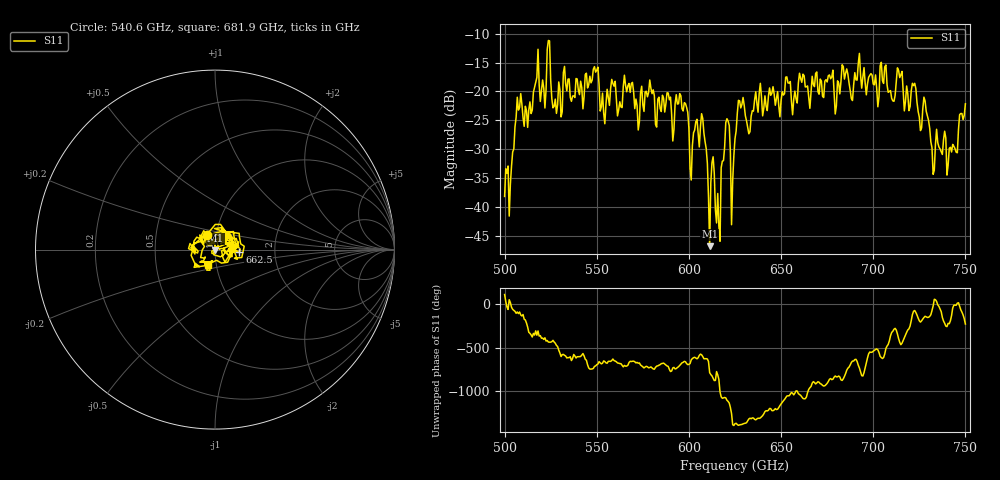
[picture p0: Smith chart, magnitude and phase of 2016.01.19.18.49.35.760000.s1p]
!Created with skrf (http://scikit-rf.org).
# GHz S RI R 50.0
!freq ReS11 ImS11
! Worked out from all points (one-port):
!   401 points, 500 GHz to 750 GHz, reference 50 ohm
!   lowest |S11| = -46.9 dB at 611.2 GHz (marker M1), VSWR 1.01, Z = 50.2 - j0.413 ohm
!   |S11| at or under -10 dB: start of sweep to end of sweep
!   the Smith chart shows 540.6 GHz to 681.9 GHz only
!   S11 on the Smith chart (normalised r, x): 540.6 GHz: 0.90, +0.15; 662.5 GHz: 1.32, -0.03; 681.9 GHz: 0.91, -0.16
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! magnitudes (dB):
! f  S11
! 500 GHz  -38.2
! 503.8 GHz  -33.0
! 508.1 GHz  -22.8
! 523.8 GHz  -11.2
! 526.9 GHz  -22.6
! 531.2 GHz  -23.5
! 540.6 GHz  -20.6
! 549.4 GHz  -16.7
! 553.1 GHz  -20.3
! 562.5 GHz  -21.8
! 593.8 GHz  -22.2
! 601.2 GHz  -35.4
! 607.5 GHz  -24.7
! 611.2 GHz  -46.9
! 615.6 GHz  -37.7
! 620.6 GHz  -24.7
! 623.8 GHz  -35.5
! 625 GHz  -28.2
! 628.1 GHz  -22.9
! 656.2 GHz  -24.1
! 662.5 GHz  -17.3
! 681.9 GHz  -20.4
! 687.5 GHz  -19.8
! 714.4 GHz  -17.6
! 718.8 GHz  -20.5
! 728.8 GHz  -23.5
! 732.5 GHz  -34.4
! 750 GHz  -22.2
